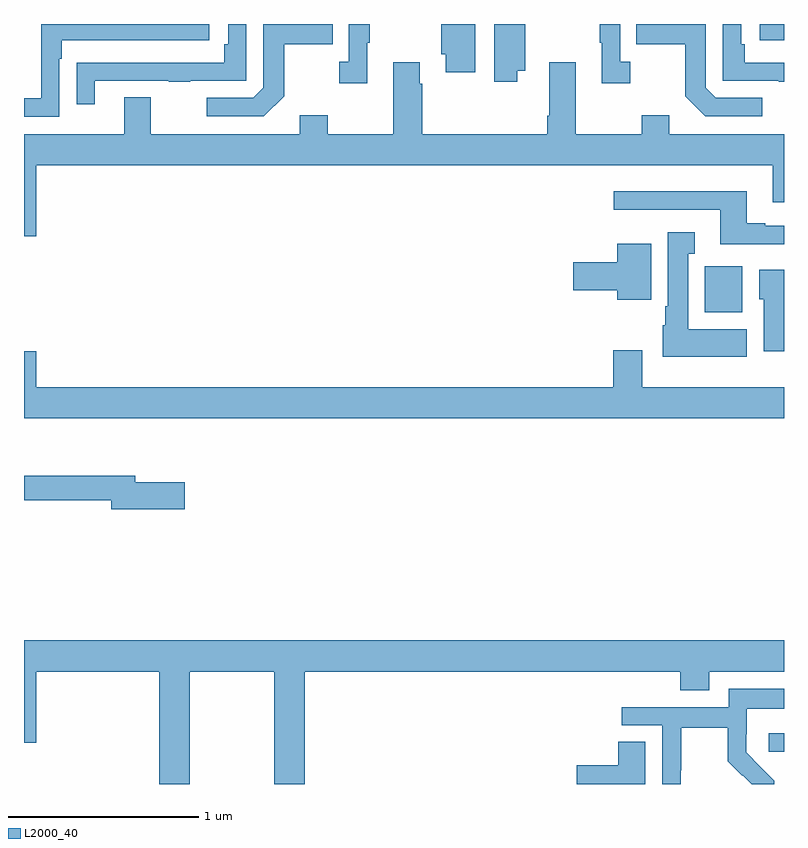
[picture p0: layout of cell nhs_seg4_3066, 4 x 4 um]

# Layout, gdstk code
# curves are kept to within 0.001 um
import gdstk
lib = gdstk.Library(unit=1e-6, precision=1e-09)
def R(c, l, rs):  # rectangles x0, y0, x1, y1
    for r in rs: c.add(gdstk.rectangle(r[:2], r[2:], *l))
def P(c, l, *ps):  # polygons
    for p in ps: c.add(gdstk.Polygon(p, *l))
L2000_40 = (2000, 40)

nhs_seg4_3066 = lib.new_cell('nhs_seg4_3066')
R(nhs_seg4_3066, L2000_40, [(276.921,791.07,277,791.167), (276.584,793.382,276.781,793.624), (276.873,794.814,277,794.9)])
P(nhs_seg4_3066, L2000_40, [(276.19,794.702),(276.138,794.702),(276.138,794.9),(276.03,794.9),(276.03,794.801),(276.041,794.801),(276.041,794.589),(276.19,794.589)],
  [(275.596,794.654),(275.637,794.654),(275.637,794.9),(275.474,794.9),(275.474,794.595),(275.596,794.595)],
  [(274.369,794.521),(274.369,794.794),(274.625,794.794),(274.625,794.9),(274.26,794.9),(274.26,794.565),(274.206,794.511),(273.963,794.511),(273.963,794.415),(274.263,794.415)],
  [(277,794.697),(276.794,794.697),(276.794,794.794),(276.774,794.794),(276.774,794.9),(276.678,794.9),(276.678,794.601),(276.973,794.601),(276.973,794.596),(277,794.596)],
  [(273.373,794.601),(273.763,794.601),(273.763,794.596),(273.875,794.596),(273.875,794.601),(274.17,794.601),(274.17,794.9),(274.074,794.9),(274.074,794.794),(274.054,794.794),(274.054,794.697),(273.379,794.697),(273.379,794.696),(273.277,794.696),(273.277,794.478),(273.373,794.478)],
  [(275.374,794.9),(275.195,794.9),(275.195,794.742),(275.219,794.742),(275.219,794.646),(275.374,794.646)],
  [(273.186,794.717),(273.199,794.717),(273.199,794.814),(273.976,794.814),(273.976,794.9),(273.09,794.9),(273.09,794.508),(273,794.508),(273,794.412),(273.186,794.412)],
  [(274.807,794.801),(274.819,794.801),(274.819,794.9),(274.71,794.9),(274.71,794.702),(274.659,794.702),(274.659,794.589),(274.807,794.589)],
  [(276.886,794.511),(276.642,794.511),(276.588,794.565),(276.588,794.9),(276.223,794.9),(276.223,794.794),(276.48,794.794),(276.48,794.521),(276.585,794.415),(276.886,794.415)],
  [(273.064,794.156),(276.941,794.156),(276.941,793.962),(277,793.962),(277,794.32),(276.397,794.32),(276.397,794.419),(276.25,794.419),(276.25,794.32),(275.905,794.32),(275.905,794.698),(275.765,794.698),(275.765,794.416),(275.753,794.416),(275.753,794.32),(275.096,794.32),(275.096,794.585),(275.083,794.585),(275.083,794.698),(274.943,794.698),(274.943,794.32),(274.599,794.32),(274.599,794.419),(274.451,794.419),(274.451,794.32),(273.667,794.32),(273.667,794.515),(273.527,794.515),(273.527,794.32),(273,794.32),(273,793.782),(273.064,793.782)],
  [(277,793.839),(276.901,793.839),(276.901,793.852),(276.805,793.852),(276.805,794.02),(276.105,794.02),(276.105,793.923),(276.665,793.923),(276.665,793.742),(277,793.742)],
  [(276.805,793.294),(276.496,793.294),(276.496,793.691),(276.529,793.691),(276.529,793.804),(276.389,793.804),(276.389,793.414),(276.374,793.414),(276.374,793.314),(276.362,793.314),(276.362,793.148),(276.805,793.148)],
  [(276.301,793.744),(276.122,793.744),(276.122,793.646),(275.892,793.646),(275.892,793.499),(276.122,793.499),(276.122,793.448),(276.301,793.448)],
  [(277,793.606),(276.869,793.606),(276.869,793.452),(276.893,793.452),(276.893,793.178),(277,793.178)],
  [(277,792.988),(276.253,792.988),(276.253,793.183),(276.101,793.183),(276.101,792.988),(273.064,792.988),(273.064,793.177),(273,793.177),(273,792.824),(277,792.824)],
  [(273.847,792.489),(273.586,792.489),(273.586,792.523),(273,792.523),(273,792.394),(273.458,792.394),(273.458,792.347),(273.847,792.347)],
  [(273.873,791.492),(274.318,791.492),(274.318,790.9),(274.478,790.9),(274.478,791.492),(276.455,791.492),(276.455,791.393),(276.607,791.393),(276.607,791.492),(277,791.492),(277,791.656),(273,791.656),(273,791.118),(273.064,791.118),(273.064,791.492),(273.713,791.492),(273.713,790.9),(273.873,790.9)],
  [(276.456,790.972),(276.459,790.972),(276.459,791.196),(276.703,791.196),(276.703,791.021),(276.78,790.944),(276.783,790.947),(276.831,790.9),(276.948,790.9),(276.948,790.918),(276.802,791.066),(276.802,791.163),(276.804,791.163),(276.804,791.297),(277,791.297),(277,791.401),(276.708,791.401),(276.708,791.304),(276.147,791.304),(276.147,791.208),(276.36,791.208),(276.36,790.9),(276.456,790.9)],
  [(276.271,791.123),(276.128,791.123),(276.128,791),(275.91,791),(275.91,790.9),(276.271,790.9)])

lib.write_gds('nhs_seg4_3066.gds')
